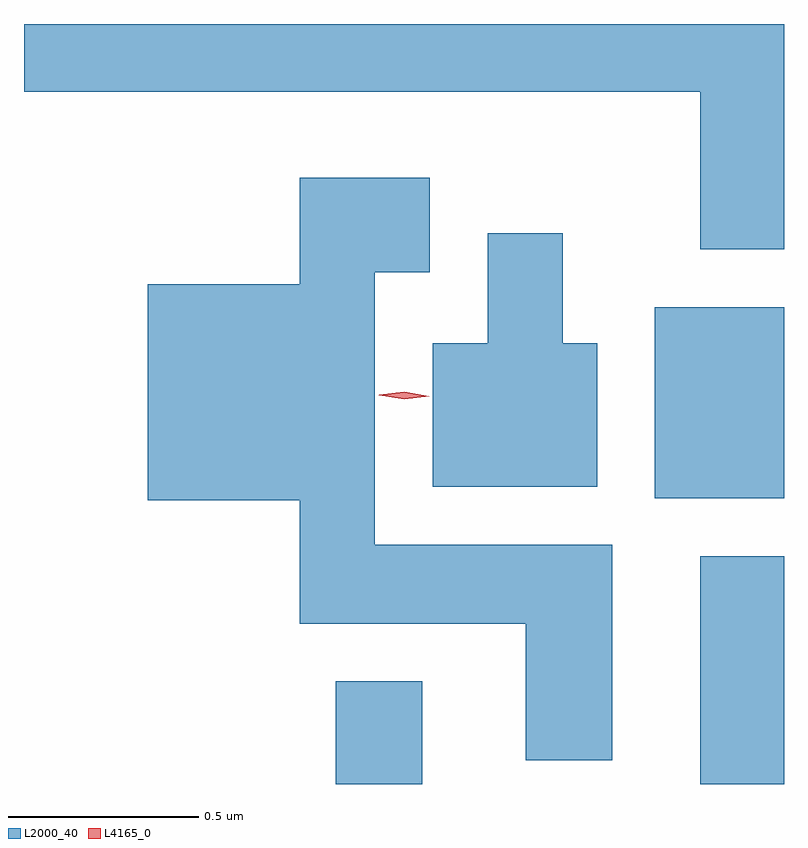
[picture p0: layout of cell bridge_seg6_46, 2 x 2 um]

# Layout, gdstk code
import gdstk
lib = gdstk.Library(unit=1e-6, precision=1e-09)
def R(c, l, rs):  # rectangles x0, y0, x1, y1
    for r in rs: c.add(gdstk.rectangle(r[:2], r[2:], *l))
def P(c, l, *ps):  # polygons
    for p in ps: c.add(gdstk.Polygon(p, *l))
L2000_40 = (2000, 40)
L4165_0 = (4165, 0)

bridge_seg6_46 = lib.new_cell('bridge_seg6_46')
R(bridge_seg6_46, L2000_40, [(1523.341,1643.674,1523.569,1643.944), (1524.301,1643.674,1524.521,1644.274), (1524.181,1644.426,1524.521,1644.929)])
P(bridge_seg6_46, L2000_40, [(1524.521,1645.674),(1522.521,1645.674),(1522.521,1645.496),(1524.301,1645.496),(1524.301,1645.081),(1524.521,1645.081)],
  [(1524.069,1644.304),(1523.444,1644.304),(1523.444,1645.021),(1523.589,1645.021),(1523.589,1645.269),(1523.246,1645.269),(1523.246,1644.989),(1522.846,1644.989),(1522.846,1644.421),(1523.246,1644.421),(1523.246,1644.096),(1523.841,1644.096),(1523.841,1643.736),(1524.069,1643.736)],
  [(1524.029,1644.834),(1523.939,1644.834),(1523.939,1645.124),(1523.741,1645.124),(1523.741,1644.834),(1523.596,1644.834),(1523.596,1644.456),(1524.029,1644.456)])
P(bridge_seg6_46, L4165_0, [(1523.522,1644.686),(1523.456,1644.697),(1523.455,1644.697),(1523.456,1644.698),(1523.522,1644.706),(1523.588,1644.695),(1523.588,1644.695),(1523.588,1644.694)])

lib.write_gds('bridge_seg6_46.gds')
